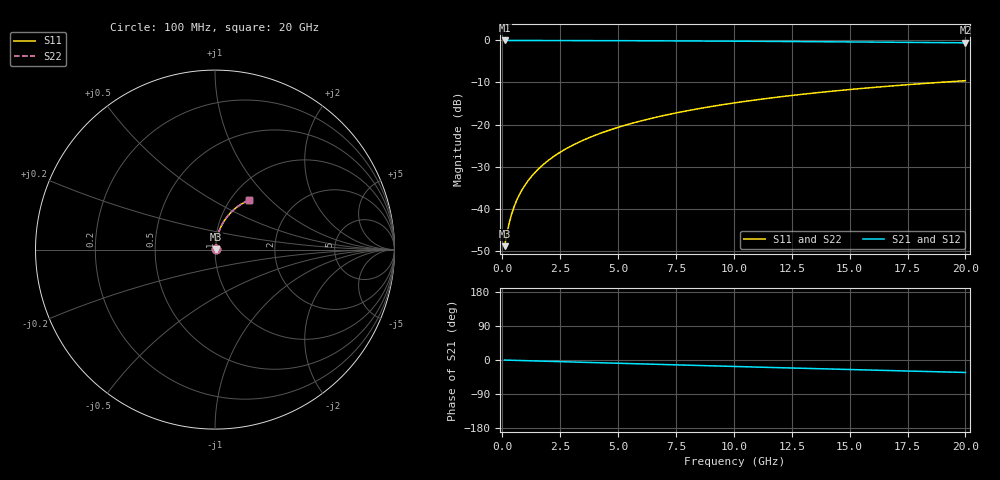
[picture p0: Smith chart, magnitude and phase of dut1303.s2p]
! Touchstone file exported from HFSS 2026.1.0
!  File:  C:/ffzhzh/LocalFiles/Ansys_Project_Files/temp_train_BSMRDL_1303_1783178212_43440.aedt
!  Generated:  11:18:06 PM Jul  4, 2026
!  Design:  BSMRDL
!  Project:  temp_train_BSMRDL_1303_1783178212_43440
! Variables:
!  h_bsmrdl = 2.41um
!  h_ox = 20um
!  h_rdl = 5um
!  h_sub = 80um
!  h_tmrdl = 5um
!  h_tsv = 80um
!  h_via = 3um
!  l_bsmrdl = 433.35um
!  l_sub = 833.35um
!  l_tmrdl = 200um
!  m_sub = 200um
!  pitch = 53.7um
!  r_tsv = 6um
!  s_tmrdl = 10um
!  w_bsmrdl = 23.93um
!  w_sub = 500um
!  w_tmrdl = 12um
!  x_tsv_center1 = 206um
!  x_tsv_center2 = 663.28um
!  x_tsv_center3 = 875.28um
!  x_tsv_center4 = 1332.56um
!  x_tsv_center5 = 1544.56um
!  x_tsv_center6 = 2001.84um
# GHz S MA R 50.000000
! Terminal data exported
! Port[1] = BSM_RDL1_1_T1
! Port[2] = BSM_RDL1_1_T2
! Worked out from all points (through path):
!   200 points, 100 MHz to 20 GHz, reference 50 ohm
!   highest |S21| = -0.03 dB at 100 MHz (marker M1); lowest = -0.6 dB at 20 GHz (marker M2)
!   group delay of S21, straight-line fit = 4.58 ps
!   lowest |S11| = -48.8 dB at 100 MHz (marker M3), VSWR 1.01, Z = 50.3 + j0.205 ohm
!   |S11| at or under -10 dB: start of sweep to 18.82 GHz
!   |S22| runs from -48.8 to -9.6 dB; largest |S21 - S12| = 3.9e-15
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0.1  0.003614 34.4  0.997 -0.2  0.997 -0.2  0.003614 34.4
! Gamma 0 0 0 0
! Port Impedance 50 0 50 0
0.2  0.005093 52.7  0.9969 -0.4  0.9969 -0.4  0.005093 52.7
0.3  0.006829 61.8  0.9968 -0.5  0.9968 -0.5  0.006829 61.8
0.4  0.008632 66.8  0.9967 -0.7  0.9967 -0.7  0.008632 66.8
0.5  0.01045 70.1  0.9965 -0.9  0.9965 -0.9  0.01045 70.1
0.6  0.01226 72.3  0.9964 -1.1  0.9964 -1.1  0.01226 72.3
0.8  0.01588 75.3  0.9962 -1.4  0.9962 -1.4  0.01588 75.3
1.1  0.02133 77.8  0.996 -1.9  0.996 -1.9  0.02133 77.8
1.3  0.02498 78.8  0.9958 -2.3  0.9958 -2.3  0.02498 78.8
1.6  0.03048 79.8  0.9956 -2.8  0.9956 -2.8  0.03048 79.8
2.1  0.03967 80.5  0.9952 -3.7  0.9952 -3.7  0.03967 80.5
2.7  0.05073 80.6  0.9946 -4.7  0.9946 -4.7  0.05073 80.6
3.5  0.06545 80.2  0.9936 -6.1  0.9936 -6.1  0.06545 80.2
4.2  0.07827 79.5  0.9925 -7.3  0.9925 -7.3  0.07827 79.5
5  0.09285 78.5  0.9911 -8.6  0.9911 -8.6  0.09285 78.5
5.9  0.1091 77.3  0.9892 -10.2  0.9892 -10.2  0.1091 77.3
6.8  0.1252 76.0  0.9871 -11.7  0.9871 -11.7  0.1252 76.0
8.3  0.1516 73.7  0.983 -14.2  0.983 -14.2  0.1516 73.7
10.1  0.1824 70.9  0.9773 -17.2  0.9773 -17.2  0.1824 70.9
13.4  0.2362 65.7  0.9648 -22.6  0.9648 -22.6  0.2362 65.7
16.7  0.2862 60.6  0.9505 -27.8  0.9505 -27.8  0.2862 60.6
20  0.3321 55.7  0.9349 -32.9  0.9349 -32.9  0.3321 55.7
